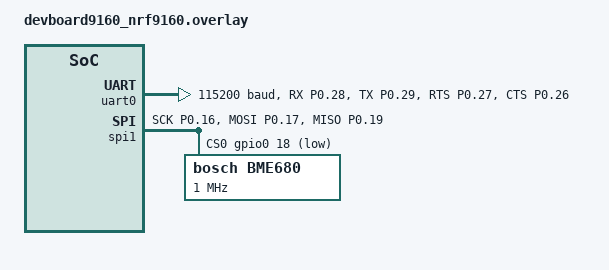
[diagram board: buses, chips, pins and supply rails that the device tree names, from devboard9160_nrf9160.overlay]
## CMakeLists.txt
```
# SPDX-License-Identifier: Apache-2.0

cmake_minimum_required(VERSION 3.20.0)


find_package(Zephyr REQUIRED HINTS $ENV{ZEPHYR_BASE})
project(spi-bme680)

target_sources(app PRIVATE src/main.c)
```

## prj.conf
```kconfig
# nothing here
CONFIG_SERIAL=y
CONFIG_CONSOLE=y
CONFIG_UART_CONSOLE=y
CONFIG_SPI=y
CONFIG_LOG=y
CONFIG_LOG_DEFAULT_LEVEL=3
CONFIG_LOG_INFO_COLOR_GREEN=y
CONFIG_LOG_DBG_COLOR_BLUE=y
CONFIG_DEBUG_THREAD_INFO=y
CONFIG_DEBUG_OPTIMIZATIONS=y
```

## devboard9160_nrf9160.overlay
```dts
// To get started, press Ctrl+Space to bring up the completion menu and view the available nodes.

// You can also use the buttons in the sidebar to perform actions on nodes.
// Actions currently available include:

// * Enabling / disabling the node
// * Adding the bus to a bus
// * Removing the node
// * Connecting ADC channels

// For more help, browse the DeviceTree documentation at https://docs.zephyrproject.org/latest/guides/dts/index.html
// You can also visit the nRF DeviceTree extension documentation at https://docs.nordicsemi.com/bundle/nrf-connect-vscode/page/guides/ncs_configure_app.html#devicetree-support-in-the-extension

&i2c0 {	status = "disabled";};
&spi0 {	status = "disabled";};
&i2c1 {	status = "disabled";};
&uart1 { status = "disabled";};

&uart0 {
	status = "okay";
	current-speed = <115200>;
	pinctrl-0 = <&uart0_default>;
	pinctrl-names = "default";
};

&gpio0 {
	status = "okay";
};

&gpiote {
	status = "okay";
};

&pinctrl {
	uart0_default: uart0_default {
		group1 {
			psels = <NRF_PSEL(UART_RX, 0, 28)>,
					<NRF_PSEL(UART_TX, 0, 29)>,
					<NRF_PSEL(UART_RTS, 0, 27)>,
					<NRF_PSEL(UART_CTS, 0, 26)>;
		};
	};

	spi1_default: spi1_default {
		group1 {
			psels = <NRF_PSEL(SPIM_SCK, 0, 16)>,
					<NRF_PSEL(SPIM_MOSI, 0, 17)>,
					<NRF_PSEL(SPIM_MISO, 0, 19)>;
		};
	};

	spi1_sleep: spi1_sleep {
		group1 {
			psels = <NRF_PSEL(SPIM_SCK, 0, 16)>,
					<NRF_PSEL(SPIM_MOSI, 0, 17)>,
					<NRF_PSEL(SPIM_MISO, 0, 19)>;
			low-power-enable;
		};
	};
};

/ {
	chosen {
		zephyr,console = &uart0;
	};
	

	aliases {
		bme680 = &bme680;
	};

};


&spi1 {
	compatible = "nordic,nrf-spim";
	pinctrl-0 = <&spi1_default>;
	pinctrl-1 = <&spi1_sleep>;
	pinctrl-names = "default", "sleep";
	cs-gpios = <&gpio0 18 GPIO_ACTIVE_LOW>;
	bme680: bme680@0 {
		compatible = "bosch,bme680";
		reg = <0x0>;
		spi-max-frequency = <1000000>;
	};

	status = "okay";
};
```

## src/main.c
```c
/*
 * Copyright (c) 2012-2014 Wind River Systems, Inc.
 *
 * SPDX-License-Identifier: Apache-2.0
 */

#include <stdio.h>
#include <zephyr/drivers/spi.h>
#include <zephyr/drivers/gpio.h>
#include <zephyr/kernel.h>
#include <zephyr/device.h>
#include <zephyr/devicetree.h>
#include <zephyr/logging/log.h>	

#define SPIOP	SPI_WORD_SET(8) | SPI_TRANSFER_MSB

#define SPI_DEVICE DT_NODELABEL(bme680)


LOG_MODULE_REGISTER(app, CONFIG_LOG_DEFAULT_LEVEL);

static struct spi_dt_spec bme680 = SPI_DT_SPEC_GET(SPI_DEVICE, SPIOP, 0);



#define WHO_AM_I 0xD0
static int bme_read_reg(uint8_t reg, uint8_t *data, uint8_t size)
{
	int err;

	/* STEP 4.1 - Set the transmit and receive buffers */
	uint8_t tx_buffer = reg;
	struct spi_buf tx_spi_buf			= {.buf = (void *)&tx_buffer, .len = 1};
	struct spi_buf_set tx_spi_buf_set 	= {.buffers = &tx_spi_buf, .count = 1};
	struct spi_buf rx_spi_bufs 			= {.buf = data, .len = size};
	struct spi_buf_set rx_spi_buf_set	= {.buffers = &rx_spi_bufs, .count = 1};

	/* STEP 4.2 - Call the transceive function */
	err = spi_transceive_dt(&bme680, &tx_spi_buf_set, &rx_spi_buf_set);
	if (err < 0) {
		LOG_ERR("spi_transceive_dt() failed, err: %d", err);
		return err;
	}

	return 0;

}

int main(void)
{	
	int err;
	LOG_INF("Welcome! %s\r\n", CONFIG_BOARD_TARGET);

	err = spi_is_ready_dt(&bme680);
	if (err != true)	
	{
		LOG_ERR("SPI is not ready, with error code: %d", err);
		return -1;
	}
	
	LOG_INF("SPI is ready!");

	uint8_t data[2] = {0};
	err = bme_read_reg(WHO_AM_I, &data, sizeof(data));
	if (err != 0)
	{
		LOG_ERR("BME680 not ready, with error code: %d", err);
		return -1;
	}

	// first byte is dummy byte
	LOG_INF("BME680 returned: 0x%02x", data[1]);


	return 0;
}
```
